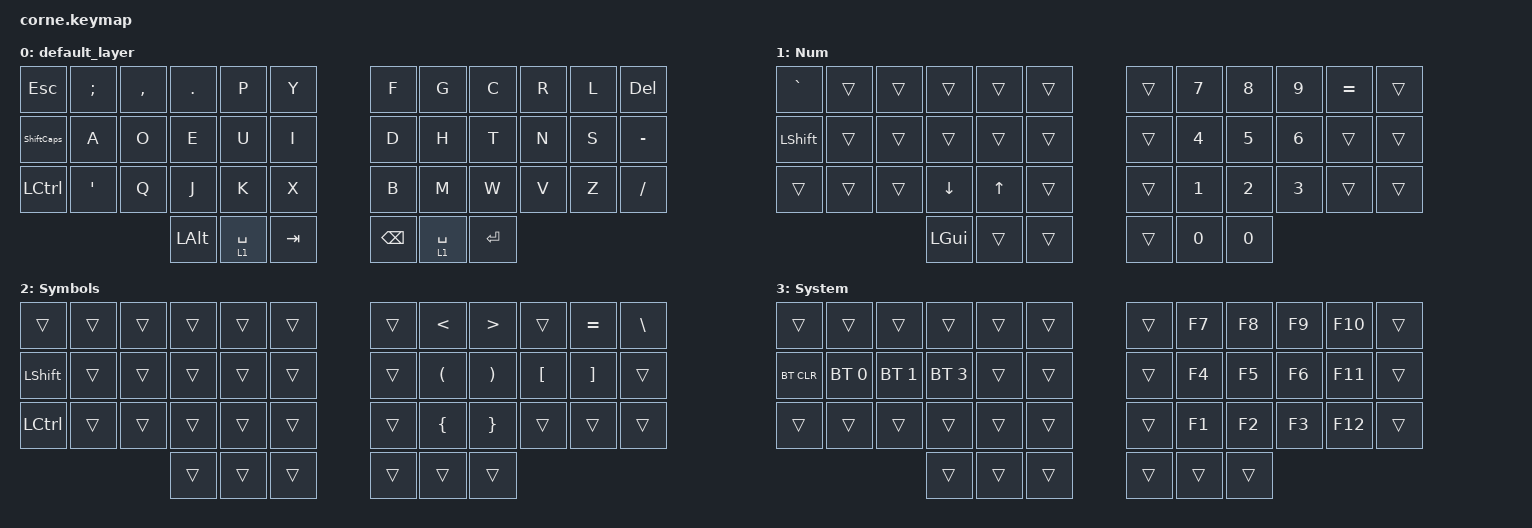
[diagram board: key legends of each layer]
/*
 * Copyright (c) 2020 The ZMK Contributors
 *
 * SPDX-License-Identifier: MIT
 */

#include <behaviors.dtsi>
#include <dt-bindings/zmk/bt.h>
#include <dt-bindings/zmk/keys.h>

/ {
    combos {
        compatible = "zmk,combos";

        Layer-2 {
            bindings = <&mo 2>;
            key-positions = <37 40>;
            timeout-ms = <1000>;
        };

        jk-to-ctrlc {
            bindings = <&kp LC(C)>;
            key-positions = <28 27>;
            timeout-ms = <250>;
        };

        System {
            bindings = <&mo 3>;
            key-positions = <38 36 37>;
            timeout-ms = <500>;
        };

        System2 {
            bindings = <&mo 3>;
            key-positions = <41 40 39>;
            timeout-ms = <500>;
        };
    };

    behaviors {
        ShiftCaps: ShiftCaps {
            compatible = "zmk,behavior-tap-dance";
            label = "SHIFTCAPS";
            #binding-cells = <0>;
            bindings = <&kp LEFT_SHIFT>, <&kp CAPSLOCK>;
        };
    };

    keymap {
        compatible = "zmk,keymap";

        default_layer {
            // -----------------------------------------------------------------------------------------
            // |  TAB |  Q  |  W  |  E  |  R  |  T  |   |  Y  |  U   |  I  |  O  |  P  | BKSP |
            // | CTRL |  A  |  S  |  D  |  F  |  G  |   |  H  |  J   |  K  |  L  |  ;  |  '   |
            // | SHFT |  Z  |  X  |  C  |  V  |  B  |   |  N  |  M   |  ,  |  .  |  /  | ESC  |
            //                    | GUI | LWR | SPC |   | ENT | RSE  | ALT |

            bindings = <
&kp ESCAPE  &kp SEMICOLON     &kp COMMA  &kp PERIOD    &kp P        &kp Y      &kp F          &kp G        &kp C      &kp R  &kp L  &kp DELETE
&ShiftCaps  &kp A             &kp O      &kp E         &kp U        &kp I      &kp D          &kp H        &kp T      &kp N  &kp S  &kp MINUS
&kp LCTRL   &kp SINGLE_QUOTE  &kp Q      &kp J         &kp K        &kp X      &kp B          &kp M        &kp W      &kp V  &kp Z  &kp SLASH
                                         &kp LEFT_ALT  &lt 1 SPACE  &kp TAB    &kp BACKSPACE  &lt 1 SPACE  &kp ENTER
            >;
        };

        Num {
            bindings = <
&kp GRAVE  &trans  &trans  &trans    &trans  &trans    &trans  &kp N7  &kp N8  &kp N9  &kp EQUAL  &trans
&kp LSHFT  &trans  &trans  &trans    &trans  &trans    &trans  &kp N4  &kp N5  &kp N6  &trans     &trans
&trans     &trans  &trans  &kp DOWN  &kp UP  &trans    &trans  &kp N1  &kp N2  &kp N3  &trans     &trans
                           &kp LGUI  &trans  &trans    &trans  &kp N0  &kp N0
            >;
        };

        Symbols {
            bindings = <
&trans     &trans  &trans  &trans  &trans  &trans    &trans  &kp LESS_THAN         &kp GREATER_THAN       &trans    &kp EQUAL  &kp BSLH
&kp LSHFT  &trans  &trans  &trans  &trans  &trans    &trans  &kp LEFT_PARENTHESIS  &kp RIGHT_PARENTHESIS  &kp LBKT  &kp RBKT   &trans
&kp LCTRL  &trans  &trans  &trans  &trans  &trans    &trans  &kp LEFT_BRACE        &kp RIGHT_BRACE        &trans    &trans     &trans
                           &trans  &trans  &trans    &trans  &trans                &trans
            >;
        };

        System {
            bindings = <
&trans      &trans        &trans        &trans        &trans  &trans    &trans  &kp F7  &kp F8  &kp F9  &kp F10  &trans
&bt BT_CLR  &bt BT_SEL 0  &bt BT_SEL 1  &bt BT_SEL 3  &trans  &trans    &trans  &kp F4  &kp F5  &kp F6  &kp F11  &trans
&trans      &trans        &trans        &trans        &trans  &trans    &trans  &kp F1  &kp F2  &kp F3  &kp F12  &trans
                                        &trans        &trans  &trans    &trans  &trans  &trans
            >;
        };
    };
};
